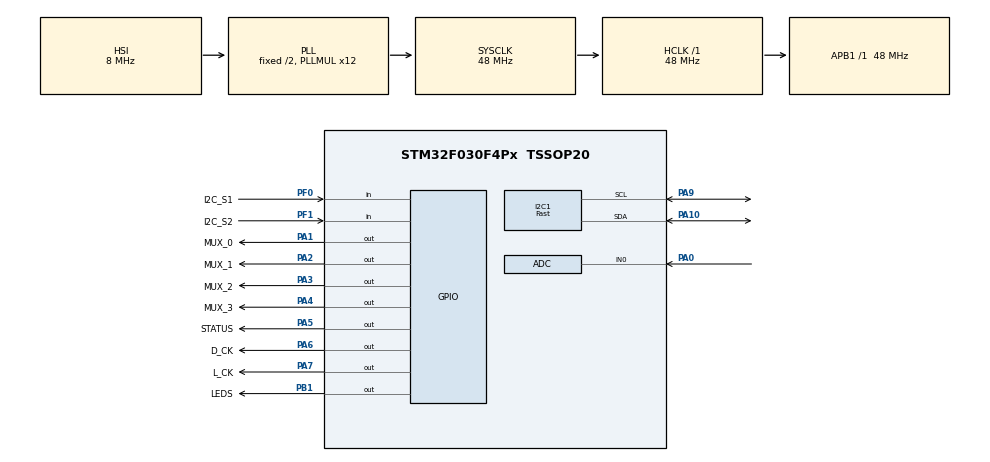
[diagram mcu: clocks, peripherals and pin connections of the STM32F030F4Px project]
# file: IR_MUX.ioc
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ADC.ClockPrescaler=ADC_CLOCK_ASYNC_DIV1
Dma.ADC.0.Direction=DMA_PERIPH_TO_MEMORY
Dma.ADC.0.Instance=DMA1_Channel1
Dma.ADC.0.MemDataAlignment=DMA_MDATAALIGN_HALFWORD
Dma.ADC.0.MemInc=DMA_MINC_ENABLE
Dma.ADC.0.Mode=DMA_NORMAL
Dma.ADC.0.PeriphDataAlignment=DMA_PDATAALIGN_HALFWORD
Dma.ADC.0.PeriphInc=DMA_PINC_DISABLE
Dma.ADC.0.Priority=DMA_PRIORITY_LOW
Dma.Request0=ADC
I2C1.I2C_Speed_Mode=I2C_Fast
I2C1.OwnAddress=((0x50 | (GPIOF->IDR & 0x03)) << 1)
I2C1.Timeout=0x00008249
I2C1.Timing=0x0090194B
Mcu.Family=STM32F0
Mcu.Name=STM32F030F4Px
Mcu.Package=TSSOP20
NVIC.DMA1_Channel1_IRQn=true\:0\:0\:false\:false\:true\:false\:true\:true
NVIC.I2C1_IRQn=true\:1\:0\:true\:false\:true\:true\:true\:true
PA0.Mode=IN0
PA0.Signal=ADC_IN0
PA1.GPIO_Label=MUX_0
PA1.Signal=GPIO_Output
PA10.Mode=I2C
PA10.Signal=I2C1_SDA
PA13.Mode=Serial_Wire
PA13.Signal=SYS_SWDIO
PA14.Mode=Serial_Wire
PA14.Signal=SYS_SWCLK
PA2.GPIO_Label=MUX_1
PA2.Signal=GPIO_Output
PA3.GPIO_Label=MUX_2
PA3.Signal=GPIO_Output
PA4.GPIO_Label=MUX_3
PA4.Signal=GPIO_Output
PA5.GPIO_Label=STATUS
PA5.Signal=GPIO_Output
PA6.GPIO_Label=D_CK
PA6.Signal=GPIO_Output
PA7.GPIO_Label=L_CK
PA7.Signal=GPIO_Output
PA9.Mode=I2C
PA9.Signal=I2C1_SCL
PB1.GPIO_Label=LEDS
PB1.Signal=GPIO_Output
PF0-OSC_IN.GPIO_Label=I2C_S1
PF0-OSC_IN.GPIO_PuPd=GPIO_PULLDOWN
PF0-OSC_IN.Signal=GPIO_Input
PF1-OSC_OUT.GPIO_Label=I2C_S2
PF1-OSC_OUT.GPIO_PuPd=GPIO_PULLDOWN
PF1-OSC_OUT.Signal=GPIO_Input
ProjectManager.HeapSize=0x200
ProjectManager.StackSize=0x400
ProjectManager.TargetToolchain=Makefile
RCC.AHBFreq_Value=48000000
RCC.APB1Freq_Value=48000000
RCC.APB1TimFreq_Value=48000000
RCC.HCLKFreq_Value=48000000
RCC.I2c1ClockSelection=RCC_I2C1CLKSOURCE_SYSCLK
RCC.PLLMUL=RCC_PLL_MUL12
RCC.SYSCLKFreq_VALUE=48000000
RCC.SYSCLKSource=RCC_SYSCLKSOURCE_PLLCLK
board=custom

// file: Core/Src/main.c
/* USER CODE BEGIN Header */
/**
 ******************************************************************************
 * @file           : main.c
 * @brief          : Main program body
 ******************************************************************************
 * @attention
 *
 * Copyright (c) 2025 STMicroelectronics.
 * All rights reserved.
 *
 * This software is licensed under terms that can be found in the LICENSE file
 * in the root directory of this software component.
 * If no LICENSE file comes with this software, it is provided AS-IS.
 *
 ******************************************************************************
 */
/* USER CODE END Header */
#include "main.h"
#include "adc.h"
#include "dma.h"
#include "i2c.h"
#include "gpio.h"

/* USER CODE BEGIN Includes */
#include "i2c_slave.h"
#include "status.h"
/* USER CODE END Includes */

/* USER CODE BEGIN PD */
#define I2C_TX_BUF_SIZE 32
#define I2C_RX_BUF_SIZE 4
/* USER CODE END PD */

/* USER CODE BEGIN PM */
#define GPIO_SET(GPIOx, PinMask) ((GPIOx)->BSRR = (PinMask))
#define GPIO_CLR(GPIOx, PinMask) ((GPIOx)->BRR = (PinMask))
// #define GPIO_CLR(GPIOx, PinMask) ((GPIOx)->BSRR = ((uint32_t)(PinMask) <<
// 16))

/* USER CODE END PM */

void SystemClock_Config(void);
/* USER CODE BEGIN PFP */
void update_LED(void);
/* USER CODE END PFP */

/* USER CODE BEGIN 0 */
static int rx_busy_counter = 0;

volatile uint8_t last_error        = 0;
volatile uint16_t led_mode_mask    = 0;
volatile uint16_t custom_leds_data = 0;               // custom led value
volatile uint16_t threshold_flag   = 0;               // threshold result
volatile uint16_t thresholds[16]   = {0};             // led threshold
volatile uint16_t leds_data = 0, last_leds_data = 0;  // led value
volatile uint16_t mux_data[16] = {0};                 // adc value

volatile uint8_t mux_index       = 0;  // current mux index
volatile uint32_t adc_dma_buffer = 0;  // current adc value

static uint32_t last_update_time          = 0;
static volatile uint8_t updated_mux_index = 0;
/* USER CODE END 0 */

int main(void) {

  /* MCU Configuration--------------------------------------------------------*/

  /* Reset of all peripherals, Initializes the Flash interface and the Systick. */
  HAL_Init();

  /* Configure the system clock */
  SystemClock_Config();

  /* Initialize all configured peripherals */
  MX_GPIO_Init();
  MX_DMA_Init();
  MX_I2C1_Init();
  MX_ADC_Init();
  /* USER CODE BEGIN 2 */
  if (HAL_ADC_Start_DMA(&hadc, (uint32_t *)&adc_dma_buffer, 1) != HAL_OK) {
    Error_Handler();
  }
  if (I2C_begin() != HAL_OK) {
    Error_Handler();
  }

  update_LED();
  set_default_status();
  /* USER CODE END 2 */

  /* Infinite loop */
  /* USER CODE BEGIN WHILE */
  while (1) {
    uint32_t current_time = HAL_GetTick();
    if (current_time - last_update_time >= 1) {
      if (HAL_I2C_GetState(&hi2c1) == HAL_I2C_STATE_BUSY_RX_LISTEN) {
        rx_busy_counter++;

        if (rx_busy_counter > I2C_RX_BUSY_CNTR) {
          HAL_I2C_DisableListen_IT(&hi2c1);
          HAL_I2C_DeInit(&hi2c1);
          HAL_I2C_Init(&hi2c1);
          HAL_I2C_EnableListen_IT(&hi2c1);
          rx_busy_counter = 0;
        }
      } else rx_busy_counter = 0;

      if (last_leds_data != leds_data) {
        update_LED();
      }
    }

    if (mux_index == updated_mux_index) {
      mux_index = (mux_index + 1) % 16;

      // eq: GPIOA->BSRR = (0x0f << (16 + 1)) | ((mux_index & 0x0f) << 1);
      GPIOA->BSRR = 0x1e0000 | ((mux_index & 0x0f) << 1);

      for (int i = 0; i < 10; i++) __NOP();

      HAL_ADC_Start_DMA(&hadc, (uint32_t *)&adc_dma_buffer, 1);
    }

    update_status();
    /* USER CODE END WHILE */

  }
}

void SystemClock_Config(void) {
  RCC_OscInitTypeDef RCC_OscInitStruct   = {0};
  RCC_ClkInitTypeDef RCC_ClkInitStruct   = {0};
  RCC_PeriphCLKInitTypeDef PeriphClkInit = {0};

  /** Initializes the RCC Oscillators according to the specified parameters
   * in the RCC_OscInitTypeDef structure.
   */
  RCC_OscInitStruct.OscillatorType        = RCC_OSCILLATORTYPE_HSI | RCC_OSCILLATORTYPE_HSI14;
  RCC_OscInitStruct.HSIState              = RCC_HSI_ON;
  RCC_OscInitStruct.HSI14State            = RCC_HSI14_ON;
  RCC_OscInitStruct.HSICalibrationValue   = RCC_HSICALIBRATION_DEFAULT;
  RCC_OscInitStruct.HSI14CalibrationValue = 16;
  RCC_OscInitStruct.PLL.PLLState          = RCC_PLL_ON;
  RCC_OscInitStruct.PLL.PLLSource         = RCC_PLLSOURCE_HSI;
  RCC_OscInitStruct.PLL.PLLMUL            = RCC_PLL_MUL12;
  RCC_OscInitStruct.PLL.PREDIV            = RCC_PREDIV_DIV1;
  if (HAL_RCC_OscConfig(&RCC_OscInitStruct) != HAL_OK) {
    Error_Handler();
  }

  /** Initializes the CPU, AHB and APB buses clocks
   */
  RCC_ClkInitStruct.ClockType      = RCC_CLOCKTYPE_HCLK | RCC_CLOCKTYPE_SYSCLK | RCC_CLOCKTYPE_PCLK1;
  RCC_ClkInitStruct.SYSCLKSource   = RCC_SYSCLKSOURCE_PLLCLK;
  RCC_ClkInitStruct.AHBCLKDivider  = RCC_SYSCLK_DIV1;
  RCC_ClkInitStruct.APB1CLKDivider = RCC_HCLK_DIV1;

  if (HAL_RCC_ClockConfig(&RCC_ClkInitStruct, FLASH_LATENCY_1) != HAL_OK) {
    Error_Handler();
  }
  PeriphClkInit.PeriphClockSelection = RCC_PERIPHCLK_I2C1;
  PeriphClkInit.I2c1ClockSelection   = RCC_I2C1CLKSOURCE_SYSCLK;
  if (HAL_RCCEx_PeriphCLKConfig(&PeriphClkInit) != HAL_OK) {
    Error_Handler();
  }
}

/* USER CODE BEGIN 4 */
void HAL_ADC_ConvCpltCallback(ADC_HandleTypeDef *hadc) {
  if (hadc->Instance == ADC1) {
    uint16_t value      = adc_dma_buffer;
    mux_data[mux_index] = value;

    uint16_t mask = 1 << mux_index;
    if (value > thresholds[mux_index]) threshold_flag |= mask;
    else threshold_flag &= ~mask;

    if (led_mode_mask & mask) {
      if (custom_leds_data & mask) leds_data |= mask;
      else leds_data &= ~mask;
    } else {
      if (threshold_flag & mask) leds_data |= mask;
      else leds_data &= ~mask;
    }

    updated_mux_index = mux_index;
  }
}

/** to display leds (HC595) */
void update_LED() {
  GPIO_CLR(L_CK_GPIO_Port, L_CK_Pin);
  for (uint8_t i = 0; i < 16; i++) {
    if (leds_data & (1 << i)) GPIO_SET(LEDS_GPIO_Port, LEDS_Pin);
    else GPIO_CLR(LEDS_GPIO_Port, LEDS_Pin);

    GPIO_SET(D_CK_GPIO_Port, D_CK_Pin);
    GPIO_CLR(D_CK_GPIO_Port, D_CK_Pin);
  }
  GPIO_SET(L_CK_GPIO_Port, L_CK_Pin);
  GPIO_CLR(L_CK_GPIO_Port, L_CK_Pin);

  last_leds_data = leds_data;
}
/* USER CODE END 4 */

void Error_Handler(void) {
  /* USER CODE BEGIN Error_Handler_Debug */
  /* User can add his own implementation to report the HAL error return state */
  __disable_irq();  // disable all interrupts

  set_status(0, STATUS_MAX_TIME);  // keep led on
  update_status();

  NVIC_SystemReset();

  // if reset not work
  while (1) {
  }
  /* USER CODE END Error_Handler_Debug */
}

#ifdef USE_FULL_ASSERT
/**
 * @brief  Reports the name of the source file and the source line number
 *         where the assert_param error has occurred.
 * @param  file: pointer to the source file name
 * @param  line: assert_param error line source number
 * @retval None
 */
void assert_failed(uint8_t *file, uint32_t line) {
  /* USER CODE BEGIN 6 */
  /* User can add his own implementation to report the file name and line
     number, ex: printf("Wrong parameters value: file %s on line %d\r\n", file,
     line) */
  /* USER CODE END 6 */
}
#endif /* USE_FULL_ASSERT */
